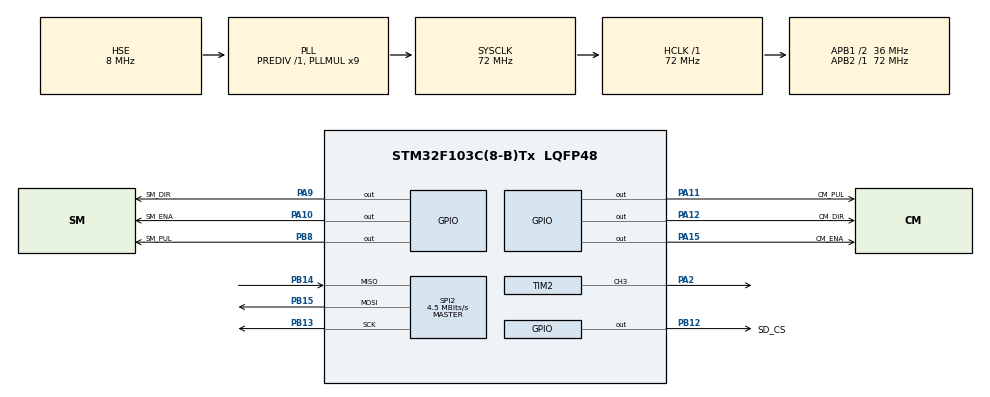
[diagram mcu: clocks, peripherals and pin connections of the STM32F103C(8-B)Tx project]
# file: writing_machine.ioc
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FATFS._MAX_SS=4096
FATFS._USE_LFN=1
Mcu.Family=STM32F1
Mcu.Name=STM32F103C(8-B)Tx
Mcu.Package=LQFP48
NVIC.PriorityGroup=NVIC_PRIORITYGROUP_4
PA10.GPIO_Label=SM_ENA
PA10.Signal=GPIO_Output
PA11.GPIO_Label=CM_PUL
PA11.Signal=GPIO_Output
PA12.GPIO_Label=CM_DIR
PA12.Signal=GPIO_Output
PA15.GPIO_Label=CM_ENA
PA15.Signal=GPIO_Output
PA2.Signal=S_TIM2_CH3
PA9.GPIO_Label=SM_DIR
PA9.Signal=GPIO_Output
PB12.GPIO_Label=SD_CS
PB12.Signal=GPIO_Output
PB13.Mode=Full_Duplex_Master
PB13.Signal=SPI2_SCK
PB14.Mode=Full_Duplex_Master
PB14.Signal=SPI2_MISO
PB15.Mode=Full_Duplex_Master
PB15.Signal=SPI2_MOSI
PB8.GPIO_Label=SM_PUL
PB8.Signal=GPIO_Output
PD0-OSC_IN.Mode=HSE-External-Oscillator
PD0-OSC_IN.Signal=RCC_OSC_IN
PD1-OSC_OUT.Mode=HSE-External-Oscillator
PD1-OSC_OUT.Signal=RCC_OSC_OUT
ProjectManager.HeapSize=0x200
ProjectManager.StackSize=0x400
ProjectManager.TargetToolchain=STM32CubeIDE
RCC.AHBFreq_Value=72000000
RCC.APB1CLKDivider=RCC_HCLK_DIV2
RCC.APB1Freq_Value=36000000
RCC.APB1TimFreq_Value=72000000
RCC.APB2Freq_Value=72000000
RCC.APB2TimFreq_Value=72000000
RCC.HCLKFreq_Value=72000000
RCC.PLLMUL=RCC_PLL_MUL9
RCC.PLLSourceVirtual=RCC_PLLSOURCE_HSE
RCC.SYSCLKFreq_VALUE=72000000
RCC.SYSCLKSource=RCC_SYSCLKSOURCE_PLLCLK
RCC.USBFreq_Value=72000000
SH.S_TIM2_CH3.0=TIM2_CH3,PWM Generation3 CH3
SPI2.BaudRatePrescaler=SPI_BAUDRATEPRESCALER_8
SPI2.CalculateBaudRate=4.5 MBits/s
SPI2.Direction=SPI_DIRECTION_2LINES
SPI2.Mode=SPI_MODE_MASTER
SPI2.VirtualType=VM_MASTER
TIM1.Prescaler=72
TIM2.Channel-PWM\ Generation3\ CH3=TIM_CHANNEL_3
TIM2.Period=9999
TIM2.Prescaler=71
VP_FATFS_VS_Generic.Mode=User_defined
VP_SYS_VS_ND.Mode=No_Debug
VP_TIM1_VS_ClockSourceINT.Mode=Internal
VP_TIM2_VS_ClockSourceINT.Mode=Internal
board=custom

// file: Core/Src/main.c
/* USER CODE BEGIN Header */
/**
	******************************************************************************
	* @file           : main.c
	* @brief          : Main program body
	******************************************************************************
	* @attention
	*
	* Copyright (c) 2025 STMicroelectronics.
	* All rights reserved.
	*
	* This software is licensed under terms that can be found in the LICENSE file
	* in the root directory of this software component.
	* If no LICENSE file comes with this software, it is provided AS-IS.
	*
	******************************************************************************
	*/
/* USER CODE END Header */
#include "main.h"
#include "fatfs.h"

/* USER CODE BEGIN Includes */
#include <math.h>
#include <string.h>
#include <stdbool.h>
/* USER CODE END Includes */

SPI_HandleTypeDef hspi2;

TIM_HandleTypeDef htim1;
TIM_HandleTypeDef htim2;

void SystemClock_Config(void);
static void MX_GPIO_Init(void);
static void MX_SPI2_Init(void);
static void MX_TIM1_Init(void);
static void MX_TIM2_Init(void);
/* USER CODE BEGIN PFP */

/*		main functions		*/
static void preparation();
static WRESULT testMC(SIZESmm papersize);
static WRESULT machine_write(const char* filename,
	const SIZESmm papersize,
	const char* writemode);

/*		image proccessing		*/
extern Coords* new_start_points(FRESULT* FR_Status, const char* filename, uint16_t* stpts_num);
extern void delete_start_points(Coords* start_points);
extern uint8_t** new_pixel_matrix(void);
extern void delete_pixel_matrix(uint8_t** pixel_matrix);
extern FRESULT read_BMPpart(uint8_t** pixel_matrix,
	const Coords start_point,
	const char* filename,
	Quality* BMPquality);
extern FRESULT fout_start_points(Coords* start_points,
	const uint16_t stpts_num,
	const char* filename,
	const BYTE writemode);
extern FRESULT fout_pixel_matrix(uint8_t** pixel_matrix,
	const Coords start_points,
	const char* filename,
	const BYTE writemode);

/*		machine control		*/
extern WRESULT rotate(const M_Angles rot_angles,
	M_Angles* start_angles,
	TIM_HandleTypeDef* htimx);

extern SIZESmm find_sheetsizes(const SIZESmm sheetsize, const char* sizetype);
extern M_Angles find_angles(const SIZESmm sheetsize,
	const M_Angles* start_angles,
	const Quality* BMPquality,
	const Square* SquareforWriting,
	const Coords* start_points,
	const Coords* pixel_matrix_coords);
extern FRESULT save_start_angles(const M_Angles* start_angles, const char* filename);
extern FRESULT get_start_angles(M_Angles* start_angles, const char* filename);

extern WRESULT pen_up();
extern WRESULT pen_down();
/* USER CODE END PFP */

int main(void)
{

	/* MCU Configuration--------------------------------------------------------*/

	/* Reset of all peripherals, Initializes the Flash interface and the Systick. */
	HAL_Init();

	/* Configure the system clock */
	SystemClock_Config();

	/* Initialize all configured peripherals */
	MX_GPIO_Init();
	MX_SPI2_Init();
	MX_FATFS_Init();
	MX_TIM1_Init();
	MX_TIM2_Init();
	/* USER CODE BEGIN 2 */
	preparation();
	WRESULT MW_Status = machine_write("eyes.bmp", A4, "");
	// MW_Status = machine_write("8x8.bmp", A4, "continue");
	// delay_us(300000, &htim1);
	// testMC(A4);
	/* USER CODE END 2 */

	/* Infinite loop */
	while (1)
	{

	/* USER CODE BEGIN 3 */
		int b = 0;
		//pen_up();
		//pen_down();

	}
	/* USER CODE END 3 */
}

void SystemClock_Config(void)
{
	RCC_OscInitTypeDef RCC_OscInitStruct = {0};
	RCC_ClkInitTypeDef RCC_ClkInitStruct = {0};

	/** Initializes the RCC Oscillators according to the specified parameters
	* in the RCC_OscInitTypeDef structure.
	*/
	RCC_OscInitStruct.OscillatorType = RCC_OSCILLATORTYPE_HSE;
	RCC_OscInitStruct.HSEState = RCC_HSE_ON;
	RCC_OscInitStruct.HSEPredivValue = RCC_HSE_PREDIV_DIV1;
	RCC_OscInitStruct.HSIState = RCC_HSI_ON;
	RCC_OscInitStruct.PLL.PLLState = RCC_PLL_ON;
	RCC_OscInitStruct.PLL.PLLSource = RCC_PLLSOURCE_HSE;
	RCC_OscInitStruct.PLL.PLLMUL = RCC_PLL_MUL9;
	if (HAL_RCC_OscConfig(&RCC_OscInitStruct) != HAL_OK)
	{
	Error_Handler();
	}

	/** Initializes the CPU, AHB and APB buses clocks
	*/
	RCC_ClkInitStruct.ClockType = RCC_CLOCKTYPE_HCLK|RCC_CLOCKTYPE_SYSCLK
								|RCC_CLOCKTYPE_PCLK1|RCC_CLOCKTYPE_PCLK2;
	RCC_ClkInitStruct.SYSCLKSource = RCC_SYSCLKSOURCE_PLLCLK;
	RCC_ClkInitStruct.AHBCLKDivider = RCC_SYSCLK_DIV1;
	RCC_ClkInitStruct.APB1CLKDivider = RCC_HCLK_DIV2;
	RCC_ClkInitStruct.APB2CLKDivider = RCC_HCLK_DIV1;

	if (HAL_RCC_ClockConfig(&RCC_ClkInitStruct, FLASH_LATENCY_2) != HAL_OK)
	{
	Error_Handler();
	}
}

static void MX_SPI2_Init(void)
{

	/* SPI2 parameter configuration*/
	hspi2.Instance = SPI2;
	hspi2.Init.Mode = SPI_MODE_MASTER;
	hspi2.Init.Direction = SPI_DIRECTION_2LINES;
	hspi2.Init.DataSize = SPI_DATASIZE_8BIT;
	hspi2.Init.CLKPolarity = SPI_POLARITY_LOW;
	hspi2.Init.CLKPhase = SPI_PHASE_1EDGE;
	hspi2.Init.NSS = SPI_NSS_SOFT;
	hspi2.Init.BaudRatePrescaler = SPI_BAUDRATEPRESCALER_8;
	hspi2.Init.FirstBit = SPI_FIRSTBIT_MSB;
	hspi2.Init.TIMode = SPI_TIMODE_DISABLE;
	hspi2.Init.CRCCalculation = SPI_CRCCALCULATION_DISABLE;
	hspi2.Init.CRCPolynomial = 10;
	if (HAL_SPI_Init(&hspi2) != HAL_OK)
	{
	Error_Handler();
	}

}

static void MX_TIM1_Init(void)
{

	TIM_ClockConfigTypeDef sClockSourceConfig = {0};
	TIM_MasterConfigTypeDef sMasterConfig = {0};

	htim1.Instance = TIM1;
	htim1.Init.Prescaler = 72;
	htim1.Init.CounterMode = TIM_COUNTERMODE_UP;
	htim1.Init.Period = 65535;
	htim1.Init.ClockDivision = TIM_CLOCKDIVISION_DIV1;
	htim1.Init.RepetitionCounter = 0;
	htim1.Init.AutoReloadPreload = TIM_AUTORELOAD_PRELOAD_DISABLE;
	if (HAL_TIM_Base_Init(&htim1) != HAL_OK)
	{
	Error_Handler();
	}
	sClockSourceConfig.ClockSource = TIM_CLOCKSOURCE_INTERNAL;
	if (HAL_TIM_ConfigClockSource(&htim1, &sClockSourceConfig) != HAL_OK)
	{
	Error_Handler();
	}
	sMasterConfig.MasterOutputTrigger = TIM_TRGO_RESET;
	sMasterConfig.MasterSlaveMode = TIM_MASTERSLAVEMODE_DISABLE;
	if (HAL_TIMEx_MasterConfigSynchronization(&htim1, &sMasterConfig) != HAL_OK)
	{
	Error_Handler();
	}

}

static void MX_TIM2_Init(void)
{

	TIM_ClockConfigTypeDef sClockSourceConfig = {0};
	TIM_MasterConfigTypeDef sMasterConfig = {0};
	TIM_OC_InitTypeDef sConfigOC = {0};

	htim2.Instance = TIM2;
	htim2.Init.Prescaler = 71;
	htim2.Init.CounterMode = TIM_COUNTERMODE_UP;
	htim2.Init.Period = 9999;
	htim2.Init.ClockDivision = TIM_CLOCKDIVISION_DIV1;
	htim2.Init.AutoReloadPreload = TIM_AUTORELOAD_PRELOAD_DISABLE;
	if (HAL_TIM_Base_Init(&htim2) != HAL_OK)
	{
	Error_Handler();
	}
	sClockSourceConfig.ClockSource = TIM_CLOCKSOURCE_INTERNAL;
	if (HAL_TIM_ConfigClockSource(&htim2, &sClockSourceConfig) != HAL_OK)
	{
	Error_Handler();
	}
	if (HAL_TIM_PWM_Init(&htim2) != HAL_OK)
	{
	Error_Handler();
	}
	sMasterConfig.MasterOutputTrigger = TIM_TRGO_RESET;
	sMasterConfig.MasterSlaveMode = TIM_MASTERSLAVEMODE_DISABLE;
	if (HAL_TIMEx_MasterConfigSynchronization(&htim2, &sMasterConfig) != HAL_OK)
	{
	Error_Handler();
	}
	sConfigOC.OCMode = TIM_OCMODE_PWM1;
	sConfigOC.Pulse = 0;
	sConfigOC.OCPolarity = TIM_OCPOLARITY_HIGH;
	sConfigOC.OCFastMode = TIM_OCFAST_DISABLE;
	if (HAL_TIM_PWM_ConfigChannel(&htim2, &sConfigOC, TIM_CHANNEL_3) != HAL_OK)
	{
	Error_Handler();
	}
	HAL_TIM_MspPostInit(&htim2);

}

static void MX_GPIO_Init(void)
{
	GPIO_InitTypeDef GPIO_InitStruct = {0};

	/* GPIO Ports Clock Enable */
	__HAL_RCC_GPIOD_CLK_ENABLE();
	__HAL_RCC_GPIOA_CLK_ENABLE();
	__HAL_RCC_GPIOB_CLK_ENABLE();

	/*Configure GPIO pin Output Level */
	HAL_GPIO_WritePin(GPIOB, SD_CS_Pin|SM_PUL_Pin, GPIO_PIN_RESET);

	/*Configure GPIO pin Output Level */
	HAL_GPIO_WritePin(GPIOA, SM_DIR_Pin|SM_ENA_Pin|CM_PUL_Pin|CM_DIR_Pin
							|CM_ENA_Pin, GPIO_PIN_RESET);

	/*Configure GPIO pins : SD_CS_Pin SM_PUL_Pin */
	GPIO_InitStruct.Pin = SD_CS_Pin|SM_PUL_Pin;
	GPIO_InitStruct.Mode = GPIO_MODE_OUTPUT_PP;
	GPIO_InitStruct.Pull = GPIO_NOPULL;
	GPIO_InitStruct.Speed = GPIO_SPEED_FREQ_LOW;
	HAL_GPIO_Init(GPIOB, &GPIO_InitStruct);

	/*Configure GPIO pins : SM_DIR_Pin SM_ENA_Pin CM_PUL_Pin CM_DIR_Pin
							CM_ENA_Pin */
	GPIO_InitStruct.Pin = SM_DIR_Pin|SM_ENA_Pin|CM_PUL_Pin|CM_DIR_Pin
							|CM_ENA_Pin;
	GPIO_InitStruct.Mode = GPIO_MODE_OUTPUT_PP;
	GPIO_InitStruct.Pull = GPIO_NOPULL;
	GPIO_InitStruct.Speed = GPIO_SPEED_FREQ_LOW;
	HAL_GPIO_Init(GPIOA, &GPIO_InitStruct);

}

/* USER CODE BEGIN 4 */
static void preparation()
{
	HAL_GPIO_WritePin(CM_ENA_GPIO_Port, CM_ENA_Pin, 1);
	HAL_Delay(500);
	HAL_GPIO_WritePin(CM_ENA_GPIO_Port, CM_ENA_Pin, 0);

	HAL_GPIO_WritePin(SM_ENA_GPIO_Port, SM_ENA_Pin, 1);
	HAL_Delay(500);
	HAL_GPIO_WritePin(SM_ENA_GPIO_Port, SM_ENA_Pin, 0);

	HAL_TIM_Base_Start(&htim1);

	HAL_TIM_PWM_Start(&htim2, TIM_CHANNEL_3);
}

static WRESULT testMC(SIZESmm papersize)
{
	const SIZESmm framesize = 5;
	const Square SquareforWriting = {
		framesize,
		framesize,
		find_sheetsizes(papersize, "width") - framesize,
		find_sheetsizes(papersize, "height") - framesize
	};

	const int stpts_num = 5;
	Coords start_points[stpts_num];
	start_points[0] = (Coords){ 50, 50 };
	start_points[1] = (Coords){ 50, 150 };
	start_points[2] = (Coords){ 150, 150 };
	start_points[3] = (Coords){ 150, 50 };
	start_points[4] = (Coords){ 50, 50 };

	Quality BMPquality = { SquareforWriting.max_y, SquareforWriting.max_x };
	Coords pixel_matrix_coords = { 0, 0 };
	M_Angles start_angles = { 0.0, 0.0 };

	double R = 80;

	while (1)
	{
		for (int k = 0; k < 7; ++k)
		{

			for (double i = 0; i < 2 * M_PI; i += 0.2)
			{
				Coords coords = { 2 * 4 * M_PI * k + 10 + i * 4, 70 + 25 * sin(i) };

				M_Angles rot_angles = find_angles(papersize,
					&start_angles,
					&BMPquality,
					&SquareforWriting,
					&coords,
					&pixel_matrix_coords);
				if (rot_angles.CM == Angle_Err) return Angle_Err;

				WRESULT MC_Status = rotate(rot_angles, &start_angles, &htim1);
				if (MC_Status != MC_OK) return MC_Status;
			}
		}
	}

	return MC_OK;
}

static WRESULT machine_write(const char* filename, const SIZESmm papersize, const char* writemode)
{
	/*--------------------INIT--------------------*/
	FATFS FatFs; // for sd card where images stored
	FRESULT FR_Status;
	FR_Status = f_mount(&FatFs, "", 1);

	if (FR_Status != FR_OK) return SD_Err;

	const char* image_info = "image_info.txt"; // for output pixel_matrix and start_points
	const char* start_angles_info = "start_angles_info.bin"; // to memorize angles

	// divide the image into pieces (buffers) with start points (upper left point of square on sheet) of every piece
	uint16_t stpts_num = 0;
	Coords* start_points = new_start_points(&FR_Status, filename, &stpts_num);
	if (start_points == NULL) return Mem_Err;
	if (FR_Status != FR_OK) return File_Err;

	FR_Status = fout_start_points(start_points, stpts_num, image_info, FA_CREATE_ALWAYS);
	if (FR_Status != FR_OK) return File_Err;

	M_Angles start_angles = { 0.0, 0.0 };
	if (!strcmp(writemode, "continue")) { // get start angles from file
		FR_Status = get_start_angles(&start_angles, start_angles_info);
		if (FR_Status != FR_OK) return File_Err;
	}

	// square on sheet where image will be written
	const SIZESmm framesize = 5;
	const Square SquareforWriting = {
		//.min_x = framesize,
		//.min_y = framesize,
		//.max_x = find_sheetsizes(A4, "width") - framesize,
		//.max_y = find_sheetsizes(A4, "height") - framesize
		.min_x = framesize,
		.min_y = find_sheetsizes(A4, "height") - framesize - 230,
		.max_x = framesize + 160,
		.max_y = find_sheetsizes(A4, "height") - framesize
	};

	/*--------------------WRITING--------------------*/
	for (uint16_t t = 0; t < stpts_num; ++t)
	{
		Quality BMPquality = { 0, 0 };
		uint8_t** pixel_matrix = new_pixel_matrix();
		if (pixel_matrix == NULL) return Mem_Err;

		FR_Status = read_BMPpart(pixel_matrix, start_points[t], filename, &BMPquality);
		if (FR_Status != FR_OK) return File_Err;

		FR_Status = fout_pixel_matrix(pixel_matrix, start_points[t], image_info, FA_OPEN_ALWAYS);
		if (FR_Status != FR_OK) return File_Err;

		WRESULT pen_cond = pen_up(); // pen up before starting

		for (uint16_t i = 0; i < BUFheight; ++i)
		{
			for (uint16_t j = 0; j < BUFwidth; ++j)
			{
				if (j == 0 || pixel_matrix[i][j] == WHITE)
				{
					if (pen_cond == Pen_Down) pen_cond = pen_up();
				}
				if (pixel_matrix[i][j] != WHITE)
				{
					Coords pixel_matrix_coords = { j, i };
					M_Angles rot_angles = find_angles(papersize,
						&start_angles,
						&BMPquality,
						&SquareforWriting,
						&start_points[t],
						&pixel_matrix_coords);
					if (rot_angles.CM == Angle_Err) return Angle_Err;

					// so long with rotate...
					WRESULT MC_Status = rotate(rot_angles, &start_angles, &htim1);
					if (MC_Status != MC_OK) return MC_Status;

					if (pen_cond == Pen_Up) pen_cond = pen_down();
				}
				// if (pen_cond == Pen_Down) pen_cond = pen_up();
			}
		}
		delete_pixel_matrix(pixel_matrix);
	}
	delete_start_points(start_points);

	/*--------------------END--------------------*/
	FR_Status = save_start_angles(&start_angles, start_angles_info);
	if (FR_Status != FR_OK) return File_Err;

	FR_Status = f_mount(NULL, "", 0);
	if (FR_Status != FR_OK) return SD_Err;

	return W_OK;
};
/* USER CODE END 4 */

void Error_Handler(void)
{
	__disable_irq();
	while (1)
	{
	}
}
